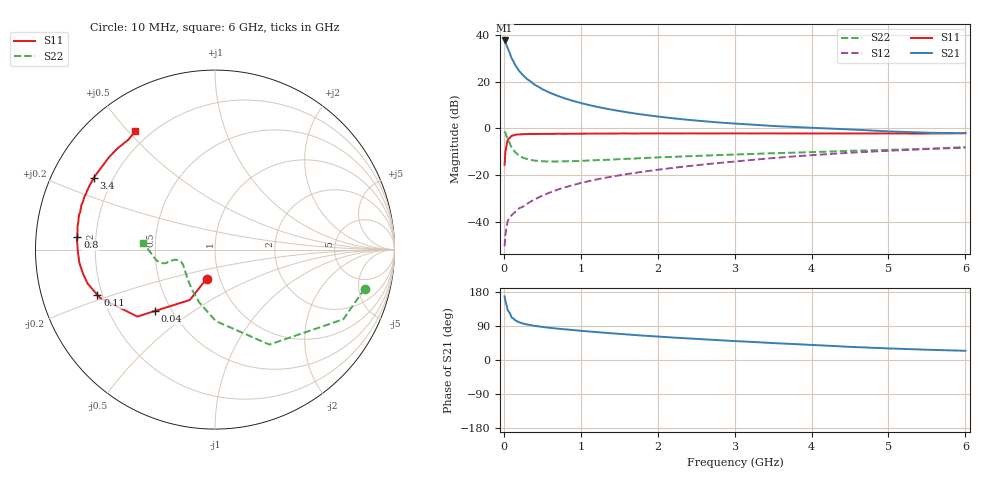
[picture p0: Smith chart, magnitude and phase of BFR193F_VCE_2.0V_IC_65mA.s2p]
! (c) 2017  Infineon Technologies AG, Munich
! Infineon Technologies  Discrete & RF Semiconductors
! BFR193F
! VCE =  2.0 V,  IC =  65 mA
! Common Emitter S-Parameters:  Jan 2017
# GHz  S  MA  R  50
!  f  S11  S21  S12  S22
! GHz  MAG  ANG  MAG  ANG  MAG  ANG  MAG  ANG
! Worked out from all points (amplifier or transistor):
!   77 points, 10 MHz to 6 GHz, reference 50 ohm
!   highest |S21| = 37.5 dB at 10 MHz (marker M1)
!   |S21| within 3 dB of that: start of sweep to 46.47 MHz
!   unconditionally stable (mu >= 1): 508 MHz to 2.731 GHz
!   at 130 MHz: K = 0.62, MSG = 32.2 dB, |S12| = -36.1 dB
!   at 2.2 GHz: K = 1.03, MAG = 9.5 dB, |S12| = -16.8 dB
!   at 6 GHz: K = 0.90, MSG = 3.1 dB, |S12| = -8.2 dB
!   S11 on the Smith chart (normalised r, x): 10 MHz: 0.87, -0.29; 40 MHz: 0.41, -0.36; 110 MHz: 0.18, -0.18; 800 MHz: 0.13, +0.04; 3.4 GHz: 0.13, +0.27; 6 GHz: 0.15, +0.52
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0.01  0.1681 -106.0  75.05 167.7  0.0031 81.3  0.8617 -14.6
0.02  0.3133 -116.5  70.55 155.6  0.0052 72.7  0.8136 -28.5
0.04  0.4788 -134.4  56.51 141.2  0.0088 58.8  0.6529 -47.6
0.05  0.5712 -139.2  51.37 131.3  0.0107 55.4  0.6097 -60.2
0.1  0.6955 -157.3  31.52 112.6  0.014 51.2  0.3986 -89.3
0.11  0.7022 -158.9  29.59 111.4  0.0146 51.8  0.3782 -92.0
0.15  0.7346 -165.1  22.04 104.4  0.0168 53.8  0.3082 -106.4
0.2  0.7469 -169.5  16.81 99.5  0.0199 55.2  0.2643 -117.6
0.25  0.7545 -172.7  13.55 96.3  0.0216 60.4  0.2373 -126.8
0.3  0.7597 -174.7  11.37 93.8  0.0247 62.3  0.2234 -133.1
0.4  0.7623 -178.0  8.563 90.0  0.0307 67.1  0.2067 -142.8
0.5  0.7652 179.9  6.881 87.3  0.0369 69.0  0.1998 -148.6
0.6  0.767 178.0  5.758 84.9  0.0432 71.1  0.1977 -153.2
0.8  0.7702 174.8  4.329 80.9  0.056 73.4  0.1997 -158.8
1.1  0.7759 170.9  3.175 75.4  0.0749 74.7  0.2076 -162.5
1.5  0.7807 166.5  2.357 69.0  0.1001 74.9  0.222 -165.2
2.1  0.7835 160.8  1.721 60.7  0.1382 73.9  0.2451 -165.9
3.1  0.7844 152.2  1.243 49.0  0.2042 71.1  0.2816 -164.7
3.4  0.7845 149.5  1.157 45.8  0.2265 69.9  0.2929 -164.9
4.1  0.7812 142.9  1.017 38.8  0.2762 66.1  0.3169 -167.3
5.1  0.7817 132.8  0.855 29.9  0.3401 59.3  0.3537 -176.0
6  0.7943 124.0  0.791 24.3  0.3904 53.6  0.4005 175.0
